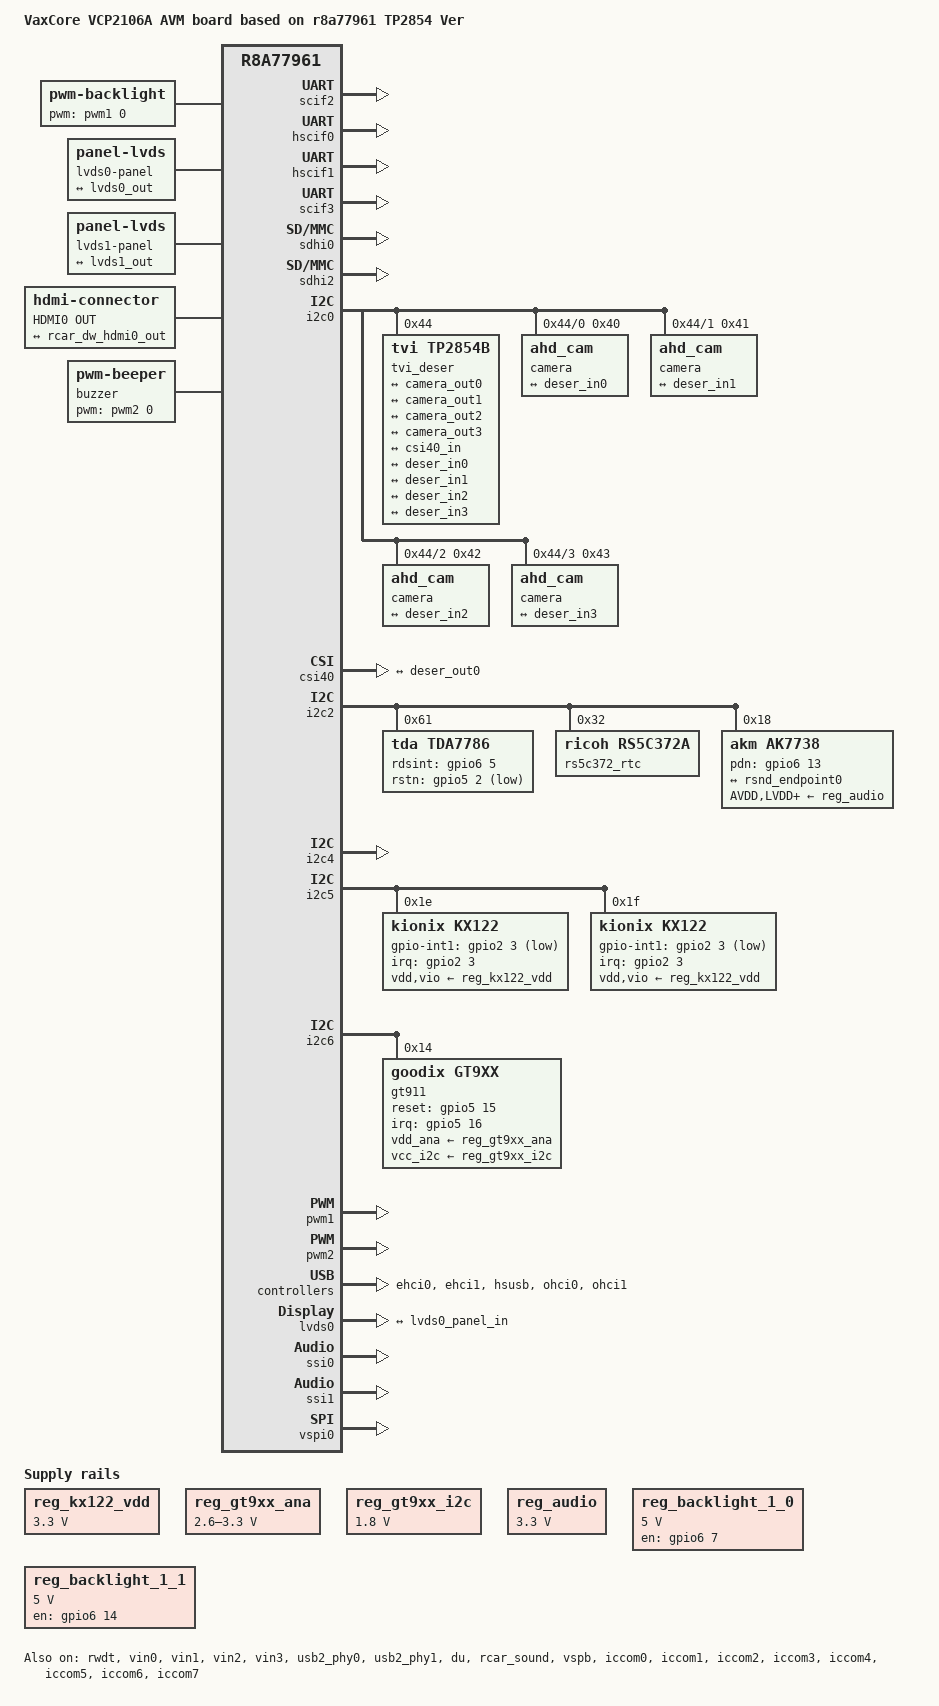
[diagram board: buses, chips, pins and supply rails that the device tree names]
// SPDX-License-Identifier: GPL-2.0
/*
 * Device Tree Source for the Salvator-X board with R-Car M3-W ES1.x
 *
 * Copyright (C) 2016-2019 Renesas Electronics Corp.
 */

/dts-v1/;
#include "r8a77961.dtsi"
#include "r8a77961-vcp2106a-core.dtsi"

/ {
	model = "VaxCore VCP2106A AVM board based on r8a77961 TP2854 Ver";
	compatible = "vaxcore,vcp2106a","renesas,r8a77961";

    aliases {
	    mmc0 = &sdhi2;
	    mmc1 = &sdhi0;
		serial0 = &scif2;
		serial1 = &hscif0;
		serial2 = &hscif1;
		serial3 = &scif3;
		serial4 = &scif1;
		ethernet0 = &avb;
		rtc0 = &rs5c372_rtc;
		rtc1 = &da9063_rtc;
	};

	reg_kx122_vdd: kx122_vdd_supply {
		compatible = "regulator-fixed";
		regulator-name = "kx122-vdd-supply";
		regulator-min-microvolt = <3300000>;
		regulator-max-microvolt = <3300000>;
		regulator-boot-on;
		regulator-always-on;
	};

	reg_gt9xx_ana: gt9xx_ana_supply {
		compatible = "regulator-fixed";
		regulator-name = "gt9xx-ana-supply";
		regulator-min-microvolt = <2600000>;
		regulator-max-microvolt = <3300000>;
		regulator-boot-on;
		regulator-always-on;
	};

	reg_gt9xx_i2c: gt9xx_i2c_supply {
		compatible = "regulator-fixed";
		regulator-name = "gt9xx-i2c-supply";
		regulator-min-microvolt = <1800000>;
		regulator-max-microvolt = <1800000>;
		regulator-boot-on;
		regulator-always-on;
	};

	reg_audio: ak7738_supply {
		compatible = "regulator-fixed";
		regulator-name = "ak7738-supply";
		AVDD-supply = <3300000>;
		LVDD-supply = <3300000>;
		DRVDD-supply = <3300000>;
		VDD33-supply = <3300000>;
		TVDD1-supply = <3300000>;
		TVDD2-supply = <3300000>;
		regulator-min-microvolt = <3300000>;
		regulator-max-microvolt = <3300000>;
		regulator-boot-on;
		regulator-always-on;
	};

	reg_backlight_1_0: regulator-backlight-1-0 {
		compatible = "regulator-fixed";
		regulator-name = "backlight 1.0";
		regulator-min-microvolt = <5000000>;
		regulator-max-microvolt = <5000000>;
		gpio = <&gpio6 7 GPIO_ACTIVE_HIGH>;
		enable-active-high;
		regulator-boot-on;
		regulator-always-on;
	};

	reg_backlight_1_1: regulator-backlight-1-1 {
		compatible = "regulator-fixed";
		regulator-name = "backlight 1.1";
		regulator-min-microvolt = <5000000>;
		regulator-max-microvolt = <5000000>;
		gpio = <&gpio6 14 GPIO_ACTIVE_HIGH>;
		enable-active-high;
		regulator-boot-on;
		regulator-always-on;
	};

	backlight {
		compatible = "pwm-backlight";

		pwms = <&pwm1 0 1000000 0>; // 1Khz -> 1000000 = 1 / 1K * 10^9

		brightness-levels = <
			 0    1   2   3   4   5   6   7
			 8    9  10  11  12  13  14  15
			 16  17  18  19  20  21  22  23
			 24  25  26  27  28  29  30  31
			 32  33  34  35  36  37  38  39
			 40  41  42  43  44  45  46  47
			 48  49  50  51  52  53  54  55
			 56  57  58  59  60  61  62  63
			 64  65  66  67  68  69  70  71
			 72  73  74  75  76  77  78  79
			 80  81  82  83  84  85  86  87
			 88  89  90  91  92  93  94  95
			 96  97  98  99 100 101 102 103
			104 105 106 107 108 109 110 111
			112 113 114 115 116 117 118 119
			120 121 122 123 124 125 126 127
			128 129 130 131 132 133 134 135
			136 137 138 139 140 141 142 143
			144 145 146 147 148 149 150 151
			152 153 154 155 156 157 158 159
			160 161 162 163 164 165 166 167
			168 169 170 171 172 173 174 175
			176 177 178 179 180 181 182 183
			184 185 186 187 188 189 190 191
			192 193 194 195 196 197 198 199
			200 201 202 203 204 205 206 207
			208 209 210 211 212 213 214 215
			216 217 218 219 220 221 222 223
			224 225 226 227 228 229 230 231
			232 233 234 235 236 237 238 239
			240 241 242 243 244 245 246 247
			248 249 250 251 252 253 254 255>;

		default-brightness-level = <200>;
/*
		power-supply = <&reg_backlight>;
		enable-gpios = <&gpio6 14 GPIO_ACTIVE_HIGH>;
*/
	};

	lvds0-panel {
		compatible = "panel-lvds";

		width-mm = <154>;
		height-mm = <86>;

		data-mapping = "vesa-24";

		panel-timing {
			/* 1024x600 @60Hz */
			clock-frequency = <51200000>;
			hactive = <1024>;
			vactive = <600>;
			hfront-porch = <100>;
			hback-porch = <100>;
			hsync-len = <150>;
			vfront-porch = <15>;
			vback-porch = <15>;
			vsync-len = <5>;
		};

		port {
			lvds0_panel_in: endpoint {
				remote-endpoint = <&lvds0_out>;
			};
		};
	};

	lvds1-panel {
		compatible = "panel-lvds";

		width-mm = <308>;
		height-mm = <130>;

		data-mapping = "vesa-24";

		panel-timing {
			/* 1024x768 @60Hz */
			clock-frequency = <65000000>;
			hactive = <1024>;
			vactive = <768>;
			hfront-porch = <24>;
			hback-porch = <160>;
			hsync-len = <136>;
			vfront-porch = <3>;
			vback-porch = <29>;
			vsync-len = <6>;
		};

		port {
			lvds1_panel_in: endpoint {
				remote-endpoint = <&lvds1_out>;
			};
		};
	};

	lvds1:ds90ub921 {
		compatible = "ti,ds90ub921","lvds-encoder";
		status = "disabled";

		ports {
			#address-cells = <1>;
			#size-cells = <0>;
			port@0 {
				reg = <0>;
				lvds1_in: endpoint {
					remote-endpoint = <&du_out_rgb>;
				};
			};
			port@1 {
				reg = <1>;
				lvds1_out: endpoint {
				};
			};
		};
	};

	hdmi0-out {
		compatible = "hdmi-connector";
		label = "HDMI0 OUT";
		type = "a";

		port {
			hdmi0_con: endpoint {
				remote-endpoint = <&rcar_dw_hdmi0_out>;
			};
		};
	};

	sound {
		compatible = "audio-graph-card";

		label = "ak7738";

		dais = <&rsnd_port0>;
	};

	buzzer {
		compatible = "pwm-beeper";
		pwms = <&pwm2 0 10000000>;
		status = "okay";
	};
};

/* Debug */
&scif2 {
	status = "okay";
};

/* Bluetooth */
&hscif0 {
	status = "okay";
};

/* TPMS */
&hscif1 {
	status = "okay";
};

/* RH850 */
&scif3 {
	status = "okay";
};

/* GPS */
&scif1 {
	status = "disabled";
};

&rwdt {
	timeout-sec = <60>;
	status = "okay";
};

&sdhi0
{
	status = "okay";
	/delete-property/wp-gpios;
};

&sdhi2
{
	status = "okay";
};

&i2c0 {
	status = "okay";

	tvi_deser@44 {
		#address-cells = <1>;
		#size-cells = <0>;
		compatible = "tvi,tp2854b";
		reg = <0x44>;

		ports {
			#address-cells = <1>;
			#size-cells = <0>;

			port@0 {
				reg = <0>;
				deser_in0: endpoint {
					remote-endpoint = <&camera_out0>;
				};
			};

			port@1 {
				reg = <1>;
				deser_in1: endpoint {
					remote-endpoint = <&camera_out1>;
				};
			};

			port@2 {
				reg = <2>;
				deser_in2: endpoint {
					remote-endpoint = <&camera_out2>;
				};
			};

			port@3 {
				reg = <3>;
				deser_in3: endpoint {
					remote-endpoint = <&camera_out3>;
				};
			};

			port@4 {
				reg = <4>;
				deser_out0: endpoint {
					clock-lanes = <0>;
					data-lanes = <1 2 3 4>;
					remote-endpoint = <&csi40_in>;
				};
			};
		};

		i2c@0 {
			#address-cells = <1>;
			#size-cells = <0>;
			reg = <0>;

			camera@40 {
				//compatible = "tvi_cam";
				compatible = "ahd_cam";
				reg = <0x40>;
				port {
					camera_out0: endpoint {
						remote-endpoint = <&deser_in0>;
					};
				};
			};
		};

		i2c@1 {
			#address-cells = <1>;
			#size-cells = <0>;
			reg = <1>;

			camera@41 {
				//compatible = "tvi_cam";
				compatible = "ahd_cam";
				reg = <0x41>;
				port {
					camera_out1: endpoint {
						remote-endpoint = <&deser_in1>;
					};
				};
			};
		};

		i2c@2 {
			#address-cells = <1>;
			#size-cells = <0>;
			reg = <2>;

			camera@42 {
				//compatible = "tvi_cam";
				compatible = "ahd_cam";
				reg = <0x42>;
				port {
					camera_out2: endpoint {
						remote-endpoint = <&deser_in2>;
					};
				};
			};
		};

		i2c@3 {
			#address-cells = <1>;
			#size-cells = <0>;
			reg = <3>;

			camera@43 {
				//compatible = "tvi_cam";
				compatible = "ahd_cam";
				reg = <0x43>;
				port {
					camera_out3: endpoint {
						remote-endpoint = <&deser_in3>;
					};
				};
			};
		};

	};
};

&vin0 {
	status = "okay";
};

&vin1 {
	status = "okay";
};

&vin2 {
	status = "okay";
};

&vin3 {
	status = "okay";
};

&csi40 {
	status = "okay";

	ports {
		#address-cells = <1>;
		#size-cells = <0>;

		port@0 {
			reg = <0>;

			csi40_in: endpoint {
				clock-lanes = <0>;
				data-lanes = <1 2 3 4>;
				remote-endpoint = <&deser_out0>;
			};
		};
	};
};

&i2c2 {
	status = "okay";

	tda7786@61 {
		compatible = "tda,tda7786";
		reg = <0x61>;

		rdsint = <&gpio6 5 GPIO_ACTIVE_HIGH >;
		rstn = <&gpio5 2 GPIO_ACTIVE_LOW>;
	};

	rs5c372_rtc:rs5c372a@32 {
		compatible = "ricoh,rs5c372a";
		reg = <0x32>;
	};

	ak7738: codec@18{
		compatible = "akm,ak7738";
		reg = <0x18>;
		#sound-dai-cells = <1>;
		clocks = <&rcar_sound 3>;
		clock-names = "mclk";
		pdn-gpio = <&gpio6 13 GPIO_ACTIVE_HIGH>;
		AVDD-supply = <&reg_audio>;
		LVDD-supply = <&reg_audio>;
		DRVDD-supply = <&reg_audio>;
		VDD33-supply = <&reg_audio>;
		TVDD1-supply = <&reg_audio>;
		TVDD2-supply = <&reg_audio>;
		D3V-supply = <&reg_audio>;
		status = "okay";

		port@0 {
			ak7738_endpoint0: endpoint {
			};
		};
		port@1 {
			ak7738_endpoint1: endpoint {

			};
		};
		port@2 {
			ak7738_endpoint2: endpoint {

			};
		};
		port@3 {
			ak7738_endpoint3: endpoint {
				remote-endpoint = <&rsnd_endpoint0>;
			};
		};
		port@4 {
			ak7738_endpoint4: endpoint {

			};
		};
	};
};

&i2c4 {
	status = "okay";

};

&i2c5 {
	status = "okay";

	kx122@1e { /* Kionix accelerometer */
		compatible = "kionix,kx122";
		reg = <0x1e>;
		vdd-supply = <&reg_kx122_vdd>;
		vio-supply = <&reg_kx122_vdd>;
		interrupt-parent = <&gpio2>;
		interrupts = <3 0x1>;
		kionix,gpio-int1 = <&gpio2 3 0x1>;
		kionix,x-map = <1>;
		kionix,y-map = <2>;
		kionix,z-map = <0>;
		kionix,x-negate = <0>;
		kionix,y-negate = <0>;
		kionix,z-negate = <0>;
		kionix,g-range = <8>;
		kionix,use-drdy-int;
	};

	kx122@1f { /* Kionix accelerometer */
		compatible = "kionix,kx122";
		reg = <0x1f>;
		vdd-supply = <&reg_kx122_vdd>;
		vio-supply = <&reg_kx122_vdd>;
		interrupt-parent = <&gpio2>;
		interrupts = <3 0x1>;
		kionix,gpio-int1 = <&gpio2 3 0x1>;
		kionix,x-map = <1>;
		kionix,y-map = <2>;
		kionix,z-map = <0>;
		kionix,x-negate = <0>;
		kionix,y-negate = <0>;
		kionix,z-negate = <0>;
		kionix,g-range = <8>;
		kionix,use-drdy-int;
	};
};

&i2c6 {
	status = "okay";

	gt911@14 {
		compatible = "goodix,gt9xx";
		reg = <0x14>;
		status = "okay";
		interrupt-parent = <&gpio5>;
		interrupts = <16 IRQ_TYPE_EDGE_FALLING>;

		reset-gpios = <&gpio5 15 GPIO_ACTIVE_HIGH>;
		irq-gpios = <&gpio5 16 GPIO_ACTIVE_HIGH>;
		irq-flags = <2>;

		vdd_ana-supply = <&reg_gt9xx_ana>;
		vcc_i2c-supply = <&reg_gt9xx_i2c>;

		touchscreen-max-id = <16>;
		touchscreen-size-x = <1024>;
		touchscreen-size-y = <600>;
		touchscreen-max-w = <1024>;
		touchscreen-max-p = <1024>;

		/* touchscreen-key-map = <172>, <158>;*/ /*KEY_HOMEPAGE, KEY_BACK*/

		goodix,type-a-report = <0>;
		goodix,driver-send-cfg = <1>;
		goodix,create-wr-node = <1>;
		goodix,wakeup-with-reset = <0>;
		goodix,resume-in-workqueue = <0>;
		goodix,int-sync = <1>;
		goodix,swap-x2y = <0>;
		goodix,inverted-x = <1>;
		goodix,inverted-y = <0>;
		goodix,esd-protect = <0>;
		goodix,pen-suppress-finger = <0>;
		goodix,auto-update = <0>;
		goodix,auto-update-cfg = <0>;
		goodix,power-off-sleep = <0>;

		/* for 1.0 */
		goodix,cfg-group2 = [
			55 38 04 58 02 05 0D 00 01 0A 28 0F 64 46 03 05
			00 00 00 00 00 00 08 17 19 1C 14 8A 2A 0C 4E 50
			EB 04 00 00 00 21 02 11 00 01 00 00 00 00 00 00
			00 00 00 46 64 94 C5 02 07 00 00 04 9E 48 00 8D
			4D 00 7F 53 00 73 59 00 67 60 00 67 00 00 00 00
			00 00 00 00 00 00 00 00 00 00 00 00 00 00 00 00
			00 00 00 00 00 00 00 00 00 00 00 00 00 00 00 00
			02 04 06 08 0A 0C 0E 10 12 14 16 18 FF FF 00 00
			00 00 00 00 00 00 00 00 00 00 00 00 00 00 24 22
			21 20 1F 1E 1D 1C 18 16 13 12 10 0F 0A 08 06 04
			02 00 FF FF FF FF FF FF 00 00 00 00 00 00 00 00
			00 00 00 00 00 00 00 00 68 01 ];

		/* for 1.1 */
		goodix,cfg-group0 = [
			42 38 04 58 02 05 0D 00 01 0A 28 0F 5A 46 03 05
			00 00 00 00 00 00 08 17 19 1C 14 87 29 0A 28 2A
			C4 09 00 00 00 49 02 10 00 01 00 00 00 00 00 00
			00 00 00 46 64 94 C5 02 07 00 00 04 9E 48 00 8D
			4D 00 7F 53 00 73 59 00 67 60 00 67 00 00 00 00
			00 00 00 00 00 00 00 00 00 00 00 00 00 00 00 00
			00 00 00 00 00 00 00 00 00 00 00 00 00 00 00 00
			02 04 06 08 0A 0C 0E 10 12 14 FF FF FF FF 00 00
			00 00 00 00 00 00 00 00 00 00 00 00 00 00 28 26
			24 22 21 20 1F 1E 1D 0C 0A 08 06 04 02 00 FF FF
			FF FF FF FF FF FF FF FF 00 00 00 00 00 00 00 00
			00 00 00 00 00 00 00 00 3A 01 ];

	};
};

&pwm1 {
	status = "okay";
};

&pwm2 {
	status = "okay";
};

&ehci0 {
	status = "okay";
};

&ehci1 {
	status = "okay";
};

&hsusb {
	status = "okay";
};

&ohci0 {
	status = "okay";
};

&ohci1 {
	status = "okay";
};

&usb2_phy0 {
	status = "okay";
};

&usb2_phy1 {
	status = "okay";
};

&hdmi0 {
	status = "disabled";

	ports {
		port@1 {
			reg = <1>;
			rcar_dw_hdmi0_out: endpoint {
				remote-endpoint = <&hdmi0_con>;
			};
		};
	};
};

&lvds0 {
	status = "okay";

	ports {
		port@1 {
			reg = <1>;
			lvds0_out: endpoint {
				remote-endpoint = <&lvds0_panel_in>;
			};
		};
	};
};

&lvds1 {
	status = "disabled";

	ports {
		port@1 {
			reg = <1>;
			lvds1_out: endpoint {
				remote-endpoint = <&lvds1_panel_in>;
			};
		};
	};
};

&du {
	status = "okay";
	ports {
		port@0{
			endpoint {
				remote-endpoint = <&lvds1_in>;
			};
		};
	};
};

&ssi0 {
    status = "okay";
};

&ssi1 {
	shared-pin;
	status = "okay";
};


&rcar_sound {
	pinctrl-0 = <&sound_pins &sound_clk_pins>;
	pinctrl-names = "default";

	/* Single DAI */
	#sound-dai-cells = <0>;

	/* audio_clkout0/1/2/3 */
	#clock-cells = <1>;
	clock-frequency = <12288000 11289600>;

	status = "okay";

	/* update <audio_clk_b> to <cs2000> */
	clocks = <&cpg CPG_MOD 1005>,
		 <&cpg CPG_MOD 1006>, <&cpg CPG_MOD 1007>,
		 <&cpg CPG_MOD 1008>, <&cpg CPG_MOD 1009>,
		 <&cpg CPG_MOD 1010>, <&cpg CPG_MOD 1011>,
		 <&cpg CPG_MOD 1012>, <&cpg CPG_MOD 1013>,
		 <&cpg CPG_MOD 1014>, <&cpg CPG_MOD 1015>,
		 <&cpg CPG_MOD 1022>, <&cpg CPG_MOD 1023>,
		 <&cpg CPG_MOD 1024>, <&cpg CPG_MOD 1025>,
		 <&cpg CPG_MOD 1026>, <&cpg CPG_MOD 1027>,
		 <&cpg CPG_MOD 1028>, <&cpg CPG_MOD 1029>,
		 <&cpg CPG_MOD 1030>, <&cpg CPG_MOD 1031>,
		 <&cpg CPG_MOD 1020>, <&cpg CPG_MOD 1021>,
		 <&cpg CPG_MOD 1020>, <&cpg CPG_MOD 1021>,
		 <&cpg CPG_MOD 1019>, <&cpg CPG_MOD 1018>,
		 <&audio_clk_a>,
		 <&audio_clk_b>,
		 <&audio_clk_c>,
		 <&cpg CPG_CORE CPG_AUDIO_CLK_I>;

	ports {
		#address-cells = <1>;
		#size-cells = <0>;
		rsnd_port0: port@0 {
			reg = <0>;
			rsnd_endpoint0: endpoint {
				remote-endpoint = <&ak7738_endpoint3>;

				dai-format = "i2s";
				bitclock-master = <&rsnd_endpoint0>;
				frame-master = <&rsnd_endpoint0>;

				playback = <&ssi0 &src0 &dvc0>;
				capture  = <&ssi1 &src1 &dvc1>;
			};
		};
	};
};

&vspb {
	status = "okay";
};

&vspi0 {
	status = "okay";
};

/*
&adsp {
	status = "okay";
	memory-region = <&adsp_reserved>;
};
*/

&iccom0 {
	status = "okay";
};

&iccom1 {
	status = "okay";
};

&iccom2 {
	status = "okay";
};

&iccom3 {
	status = "okay";
};

&iccom4 {
	status = "okay";
};

&iccom5 {
	status = "okay";
};

&iccom6 {
	status = "okay";
};

&iccom7 {
	status = "okay";
};
